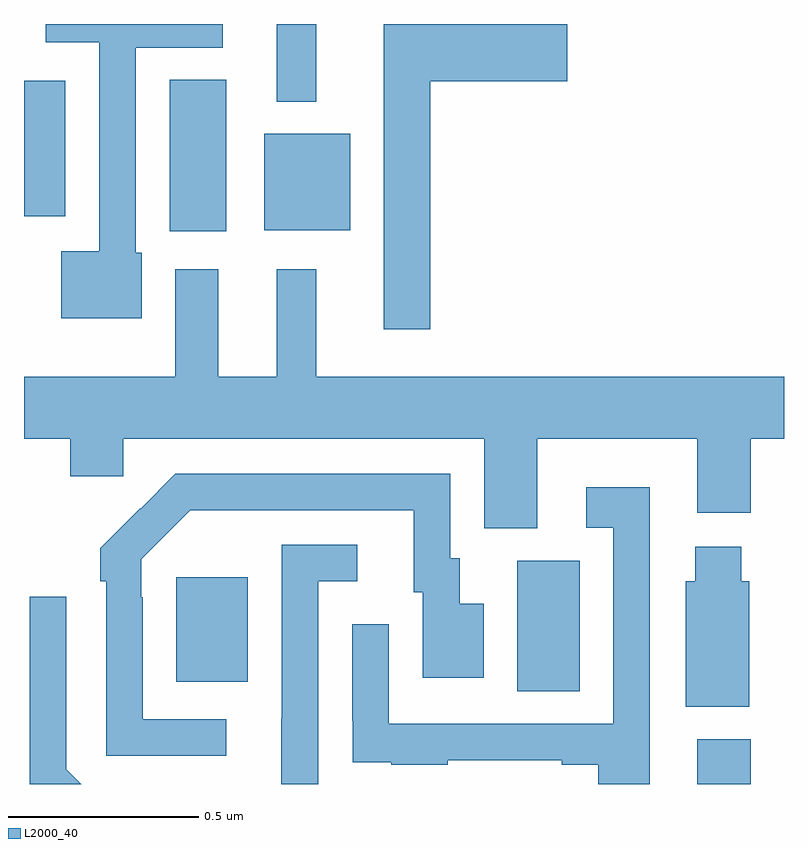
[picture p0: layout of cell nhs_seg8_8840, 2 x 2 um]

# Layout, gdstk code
import gdstk
lib = gdstk.Library(unit=1e-6, precision=1e-09)
def R(c, l, rs):  # rectangles x0, y0, x1, y1
    for r in rs: c.add(gdstk.rectangle(r[:2], r[2:], *l))
def P(c, l, *ps):  # polygons
    for p in ps: c.add(gdstk.Polygon(p, *l))
L2000_40 = (2000, 40)

nhs_seg8_8840 = lib.new_cell('nhs_seg8_8840')
R(nhs_seg8_8840, L2000_40, [(229.772,1140.9,229.912,1141.018), (229.298,1141.144,229.462,1141.488), (228.401,1141.169,228.589,1141.444), (228.383,1142.355,228.532,1142.753), (228.632,1142.357,228.859,1142.611), (228,1142.394,228.109,1142.751), (228.665,1142.696,228.769,1142.9)])
P(nhs_seg8_8840, L2000_40, [(229.069,1142.75),(229.429,1142.75),(229.429,1142.9),(228.947,1142.9),(228.947,1142.097),(229.069,1142.097)],
  [(228.31,1142.298),(228.294,1142.298),(228.294,1142.838),(228.523,1142.838),(228.523,1142.9),(228.057,1142.9),(228.057,1142.852),(228.198,1142.852),(228.198,1142.302),(228.098,1142.302),(228.098,1142.126),(228.31,1142.126)],
  [(229.351,1141.808),(229.772,1141.808),(229.772,1141.614),(229.912,1141.614),(229.912,1141.808),(230,1141.808),(230,1141.972),(228.769,1141.972),(228.769,1142.254),(228.665,1142.254),(228.665,1141.972),(228.511,1141.972),(228.511,1142.254),(228.398,1142.254),(228.398,1141.972),(228,1141.972),(228,1141.808),(228.122,1141.808),(228.122,1141.71),(228.261,1141.71),(228.261,1141.808),(229.211,1141.808),(229.211,1141.573),(229.351,1141.573)],
  [(228.532,1141.071),(228.312,1141.071),(228.312,1141.391),(228.309,1141.391),(228.309,1141.491),(228.438,1141.62),(229.025,1141.62),(229.025,1141.404),(229.049,1141.404),(229.049,1141.179),(229.21,1141.179),(229.21,1141.375),(229.147,1141.375),(229.147,1141.494),(229.122,1141.494),(229.122,1141.716),(228.398,1141.716),(228.307,1141.625),(228.306,1141.626),(228.201,1141.521),(228.201,1141.433),(228.216,1141.433),(228.216,1140.975),(228.532,1140.975)],
  [(229.647,1141.681),(229.479,1141.681),(229.479,1141.575),(229.551,1141.575),(229.551,1141.059),(228.96,1141.059),(228.96,1141.321),(228.864,1141.321),(228.864,1141.066),(228.865,1141.066),(228.865,1140.957),(228.967,1140.957),(228.967,1140.951),(229.115,1140.951),(229.115,1140.963),(229.415,1140.963),(229.415,1140.951),(229.511,1140.951),(229.511,1140.9),(229.647,1140.9)],
  [(228.774,1141.434),(228.877,1141.434),(228.877,1141.53),(228.678,1141.53),(228.678,1141.073),(228.677,1141.073),(228.677,1140.9),(228.774,1140.9)],
  [(229.909,1141.434),(229.888,1141.434),(229.888,1141.525),(229.766,1141.525),(229.766,1141.434),(229.742,1141.434),(229.742,1141.103),(229.909,1141.103)],
  [(228.111,1140.939),(228.111,1141.393),(228.015,1141.393),(228.015,1140.9),(228.15,1140.9)])

lib.write_gds('nhs_seg8_8840.gds')
